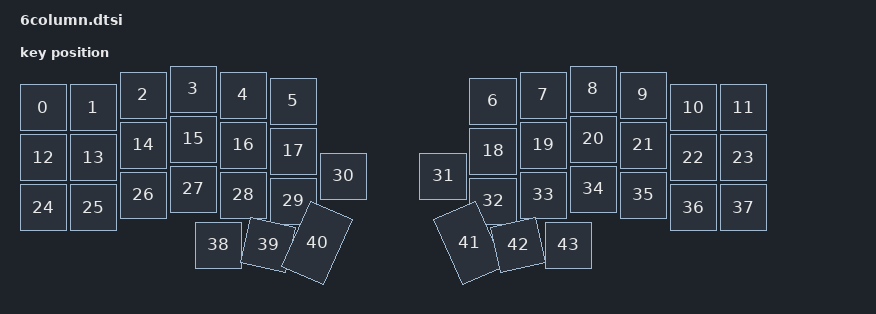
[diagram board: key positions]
#include <layouts/tusks/position_map.dtsi>
#include <physical_layouts.dtsi>

/ {
	tusks_6col_layout: tusks_6col_layout {
		compatible = "zmk,physical-layout";
		display-name = "6 Column";
		
        keys  //                     w   h    x    y     rot    rx    ry

            = <&key_physical_attrs 100 100    0   37     0     50    87>
            , <&key_physical_attrs 100 100  100   37     0    150    87>
            , <&key_physical_attrs 100 100  200   12     0    250    62>
            , <&key_physical_attrs 100 100  300    0     0    350    50>
            , <&key_physical_attrs 100 100  400   12     0    450    62>
            , <&key_physical_attrs 100 100  500   24     0    550    74>
            , <&key_physical_attrs 100 100  900   24     0    950    74>
            , <&key_physical_attrs 100 100 1000   12     0   1050    62>
            , <&key_physical_attrs 100 100 1100    0     0   1150    50>
            , <&key_physical_attrs 100 100 1200   12     0   1250    62>
            , <&key_physical_attrs 100 100 1300   37     0   1350    87>
            , <&key_physical_attrs 100 100 1400   37     0   1450    87>
            , <&key_physical_attrs 100 100    0  137     0     50   187>
            , <&key_physical_attrs 100 100  100  137     0    150   187>
            , <&key_physical_attrs 100 100  200  112     0    250   162>
            , <&key_physical_attrs 100 100  300  100     0    350   150>
            , <&key_physical_attrs 100 100  400  112     0    450   162>
            , <&key_physical_attrs 100 100  500  124     0    550   174>
            , <&key_physical_attrs 100 100  900  124     0    950   174>
            , <&key_physical_attrs 100 100 1000  112     0   1050   162>
            , <&key_physical_attrs 100 100 1100  100     0   1150   150>
            , <&key_physical_attrs 100 100 1200  112     0   1250   162>
            , <&key_physical_attrs 100 100 1300  137     0   1350   187>
            , <&key_physical_attrs 100 100 1400  137     0   1450   187>
            , <&key_physical_attrs 100 100    0  237     0     50   287>
            , <&key_physical_attrs 100 100  100  237     0    150   287>
            , <&key_physical_attrs 100 100  200  212     0    250   262>
            , <&key_physical_attrs 100 100  300  200     0    350   250>
            , <&key_physical_attrs 100 100  400  212     0    450   262>
            , <&key_physical_attrs 100 100  500  224     0    550   274>
            , <&key_physical_attrs 100 100  600  174     0    650   224>
            , <&key_physical_attrs 100 100  800  174     0    850   224>
            , <&key_physical_attrs 100 100  900  224     0    950   274>
            , <&key_physical_attrs 100 100 1000  212     0   1050   262>
            , <&key_physical_attrs 100 100 1100  200     0   1150   250>
            , <&key_physical_attrs 100 100 1200  212     0   1250   262>
            , <&key_physical_attrs 100 100 1300  237     0   1350   287>
            , <&key_physical_attrs 100 100 1400  237     0   1450   287>

            , <&key_physical_attrs 100 100  350  312     0    400   362>
            , <&key_physical_attrs 100 100  450  312  1200    500   362>
            , <&key_physical_attrs 100 150  548  283  2400    598   358>

            , <&key_physical_attrs 100 150  852  283 -2400    902   358>
            , <&key_physical_attrs 100 100  950  312 -1200   1000   362>
            , <&key_physical_attrs 100 100 1050  312     0   1100   362>
        ;
    };
};

&layouts_tusks_position_map {
	tusks_6col_posmap: six {
		physical-layout = <&tusks_6col_layout>;
        positions
            = < 0  1  2  3  4  5        6  7  8  9 10 11>
            , <12 13 14 15 16 17       18 19 20 21 22 23>
            , <24 25 26 27 28 29 30 31 32 33 34 35 36 37>
            , <         38 39 40       41 42 43      >;
    };
};
